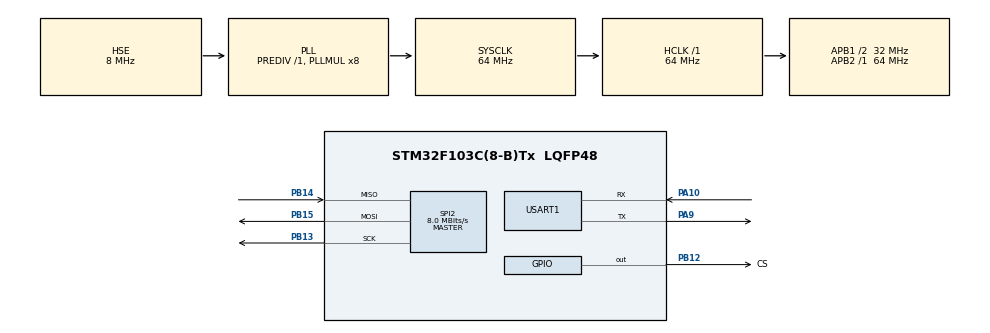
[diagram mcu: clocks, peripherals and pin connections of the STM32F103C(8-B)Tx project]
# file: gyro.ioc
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Mcu.Family=STM32F1
Mcu.Name=STM32F103C(8-B)Tx
Mcu.Package=LQFP48
NVIC.PriorityGroup=NVIC_PRIORITYGROUP_4
PA10.Mode=Asynchronous
PA10.Signal=USART1_RX
PA9.Mode=Asynchronous
PA9.Signal=USART1_TX
PB12.GPIO_Label=CS
PB12.PinState=GPIO_PIN_SET
PB12.Signal=GPIO_Output
PB13.Mode=Full_Duplex_Master
PB13.Signal=SPI2_SCK
PB14.Mode=Full_Duplex_Master
PB14.Signal=SPI2_MISO
PB15.Mode=Full_Duplex_Master
PB15.Signal=SPI2_MOSI
PD0-OSC_IN.Mode=HSE-External-Oscillator
PD0-OSC_IN.Signal=RCC_OSC_IN
PD1-OSC_OUT.Mode=HSE-External-Oscillator
PD1-OSC_OUT.Signal=RCC_OSC_OUT
ProjectManager.HeapSize=0x200
ProjectManager.StackSize=0x400
ProjectManager.TargetToolchain=STM32CubeIDE
RCC.AHBFreq_Value=64000000
RCC.APB1CLKDivider=RCC_HCLK_DIV2
RCC.APB1Freq_Value=32000000
RCC.APB1TimFreq_Value=64000000
RCC.APB2Freq_Value=64000000
RCC.APB2TimFreq_Value=64000000
RCC.HCLKFreq_Value=64000000
RCC.PLLMUL=RCC_PLL_MUL8
RCC.PLLSourceVirtual=RCC_PLLSOURCE_HSE
RCC.SYSCLKFreq_VALUE=64000000
RCC.SYSCLKSource=RCC_SYSCLKSOURCE_PLLCLK
RCC.USBFreq_Value=64000000
SPI2.BaudRatePrescaler=SPI_BAUDRATEPRESCALER_4
SPI2.CalculateBaudRate=8.0 MBits/s
SPI2.DataSize=SPI_DATASIZE_8BIT
SPI2.Direction=SPI_DIRECTION_2LINES
SPI2.Mode=SPI_MODE_MASTER
SPI2.VirtualType=VM_MASTER
USART1.VirtualMode=VM_ASYNC
VP_SYS_VS_ND.Mode=No_Debug
board=custom

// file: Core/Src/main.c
/* USER CODE BEGIN Header */
/**
  ******************************************************************************
  * @file           : main.c
  * @brief          : Main program body
  ******************************************************************************
  * @attention
  *
  * Copyright (c) 2024 STMicroelectronics.
  * All rights reserved.
  *
  * This software is licensed under terms that can be found in the LICENSE file
  * in the root directory of this software component.
  * If no LICENSE file comes with this software, it is provided AS-IS.
  *
  ******************************************************************************
  */
/* USER CODE END Header */
#include "main.h"

/* USER CODE BEGIN Includes */
#include "lsm6ds.h"
#include <stdio.h>
#include <string.h>

/* USER CODE END Includes */

SPI_HandleTypeDef hspi2;

UART_HandleTypeDef huart1;

void SystemClock_Config(void);
static void MX_GPIO_Init(void);
static void MX_SPI2_Init(void);
static void MX_USART1_UART_Init(void);

int main(void)
{

  /* MCU Configuration--------------------------------------------------------*/

  /* Reset of all peripherals, Initializes the Flash interface and the Systick. */
  HAL_Init();

  /* Configure the system clock */
  SystemClock_Config();

  /* Initialize all configured peripherals */
  MX_GPIO_Init();
  MX_SPI2_Init();
  MX_USART1_UART_Init();
  /* USER CODE BEGIN 2 */

  // Exemplo
  lsm6ds_settings_t lsm6ds_settings = {
      .lsm6ds_xl_fs = LSM6DS_16g,
      .lsm6ds_fs_g = LSM6DS_2000dps,
      .lsm6ds_odr_xl = LSM6DS_XL_ODR_6667Hz,
      .lsm6ds_odr_g = LSM6DS_GY_ODR_1667Hz
  };

  /*
  uint8_t whoamI;
  */

  float* acc_data;
  float* gyro_data;

  char tmp[40];
  sprintf(tmp, "Iniciando\r\n");
  HAL_UART_Transmit(&huart1, (uint8_t *)tmp, strlen(tmp), 10);
  HAL_Delay(500);
  lsm6ds_init(lsm6ds_settings, hspi2);
  /* USER CODE END 2 */

  /* Infinite loop */
  while (1)
  {

    /* USER CODE BEGIN 3 */

	  char output[40];
	  sprintf(output, "loop:\r\n");
	  HAL_UART_Transmit(&huart1, (uint8_t *)output, strlen(output), 10);

	  lsm6ds_update_data();
	  acc_data = lsm6ds_get_acc_data_mg();
	  gyro_data = lsm6ds_get_gyro_data_mdps();
	  sprintf(output, "g: %.3f, %.3f, %.3f\r\n", gyro_data[0], gyro_data[1], gyro_data[2]);
	  HAL_UART_Transmit(&huart1, (uint8_t *)output, strlen(output), 10);
	  sprintf(output, "xl: %.3f, %.3f, %.3f\r\n", acc_data[0], acc_data[1], acc_data[2]);
	  HAL_UART_Transmit(&huart1, (uint8_t *)output, strlen(output), 10);
	  HAL_Delay(500);
  }
  /* USER CODE END 3 */
}

void SystemClock_Config(void)
{
  RCC_OscInitTypeDef RCC_OscInitStruct = {0};
  RCC_ClkInitTypeDef RCC_ClkInitStruct = {0};

  /** Initializes the RCC Oscillators according to the specified parameters
  * in the RCC_OscInitTypeDef structure.
  */
  RCC_OscInitStruct.OscillatorType = RCC_OSCILLATORTYPE_HSE;
  RCC_OscInitStruct.HSEState = RCC_HSE_ON;
  RCC_OscInitStruct.HSEPredivValue = RCC_HSE_PREDIV_DIV1;
  RCC_OscInitStruct.HSIState = RCC_HSI_ON;
  RCC_OscInitStruct.PLL.PLLState = RCC_PLL_ON;
  RCC_OscInitStruct.PLL.PLLSource = RCC_PLLSOURCE_HSE;
  RCC_OscInitStruct.PLL.PLLMUL = RCC_PLL_MUL8;
  if (HAL_RCC_OscConfig(&RCC_OscInitStruct) != HAL_OK)
  {
    Error_Handler();
  }

  /** Initializes the CPU, AHB and APB buses clocks
  */
  RCC_ClkInitStruct.ClockType = RCC_CLOCKTYPE_HCLK|RCC_CLOCKTYPE_SYSCLK
                              |RCC_CLOCKTYPE_PCLK1|RCC_CLOCKTYPE_PCLK2;
  RCC_ClkInitStruct.SYSCLKSource = RCC_SYSCLKSOURCE_PLLCLK;
  RCC_ClkInitStruct.AHBCLKDivider = RCC_SYSCLK_DIV1;
  RCC_ClkInitStruct.APB1CLKDivider = RCC_HCLK_DIV2;
  RCC_ClkInitStruct.APB2CLKDivider = RCC_HCLK_DIV1;

  if (HAL_RCC_ClockConfig(&RCC_ClkInitStruct, FLASH_LATENCY_2) != HAL_OK)
  {
    Error_Handler();
  }
}

static void MX_SPI2_Init(void)
{

  /* SPI2 parameter configuration*/
  hspi2.Instance = SPI2;
  hspi2.Init.Mode = SPI_MODE_MASTER;
  hspi2.Init.Direction = SPI_DIRECTION_2LINES;
  hspi2.Init.DataSize = SPI_DATASIZE_8BIT;
  hspi2.Init.CLKPolarity = SPI_POLARITY_LOW;
  hspi2.Init.CLKPhase = SPI_PHASE_1EDGE;
  hspi2.Init.NSS = SPI_NSS_SOFT;
  hspi2.Init.BaudRatePrescaler = SPI_BAUDRATEPRESCALER_4;
  hspi2.Init.FirstBit = SPI_FIRSTBIT_MSB;
  hspi2.Init.TIMode = SPI_TIMODE_DISABLE;
  hspi2.Init.CRCCalculation = SPI_CRCCALCULATION_DISABLE;
  hspi2.Init.CRCPolynomial = 10;
  if (HAL_SPI_Init(&hspi2) != HAL_OK)
  {
    Error_Handler();
  }

}

static void MX_USART1_UART_Init(void)
{

  huart1.Instance = USART1;
  huart1.Init.BaudRate = 115200;
  huart1.Init.WordLength = UART_WORDLENGTH_8B;
  huart1.Init.StopBits = UART_STOPBITS_1;
  huart1.Init.Parity = UART_PARITY_NONE;
  huart1.Init.Mode = UART_MODE_TX_RX;
  huart1.Init.HwFlowCtl = UART_HWCONTROL_NONE;
  huart1.Init.OverSampling = UART_OVERSAMPLING_16;
  if (HAL_UART_Init(&huart1) != HAL_OK)
  {
    Error_Handler();
  }

}

static void MX_GPIO_Init(void)
{
  GPIO_InitTypeDef GPIO_InitStruct = {0};

  /* GPIO Ports Clock Enable */
  __HAL_RCC_GPIOD_CLK_ENABLE();
  __HAL_RCC_GPIOB_CLK_ENABLE();
  __HAL_RCC_GPIOA_CLK_ENABLE();

  /*Configure GPIO pin Output Level */
  HAL_GPIO_WritePin(CS_GPIO_Port, CS_Pin, GPIO_PIN_SET);

  /*Configure GPIO pin : CS_Pin */
  GPIO_InitStruct.Pin = CS_Pin;
  GPIO_InitStruct.Mode = GPIO_MODE_OUTPUT_PP;
  GPIO_InitStruct.Pull = GPIO_NOPULL;
  GPIO_InitStruct.Speed = GPIO_SPEED_FREQ_LOW;
  HAL_GPIO_Init(CS_GPIO_Port, &GPIO_InitStruct);

}

void Error_Handler(void)
{
  __disable_irq();
  while (1)
  {
  }
}
